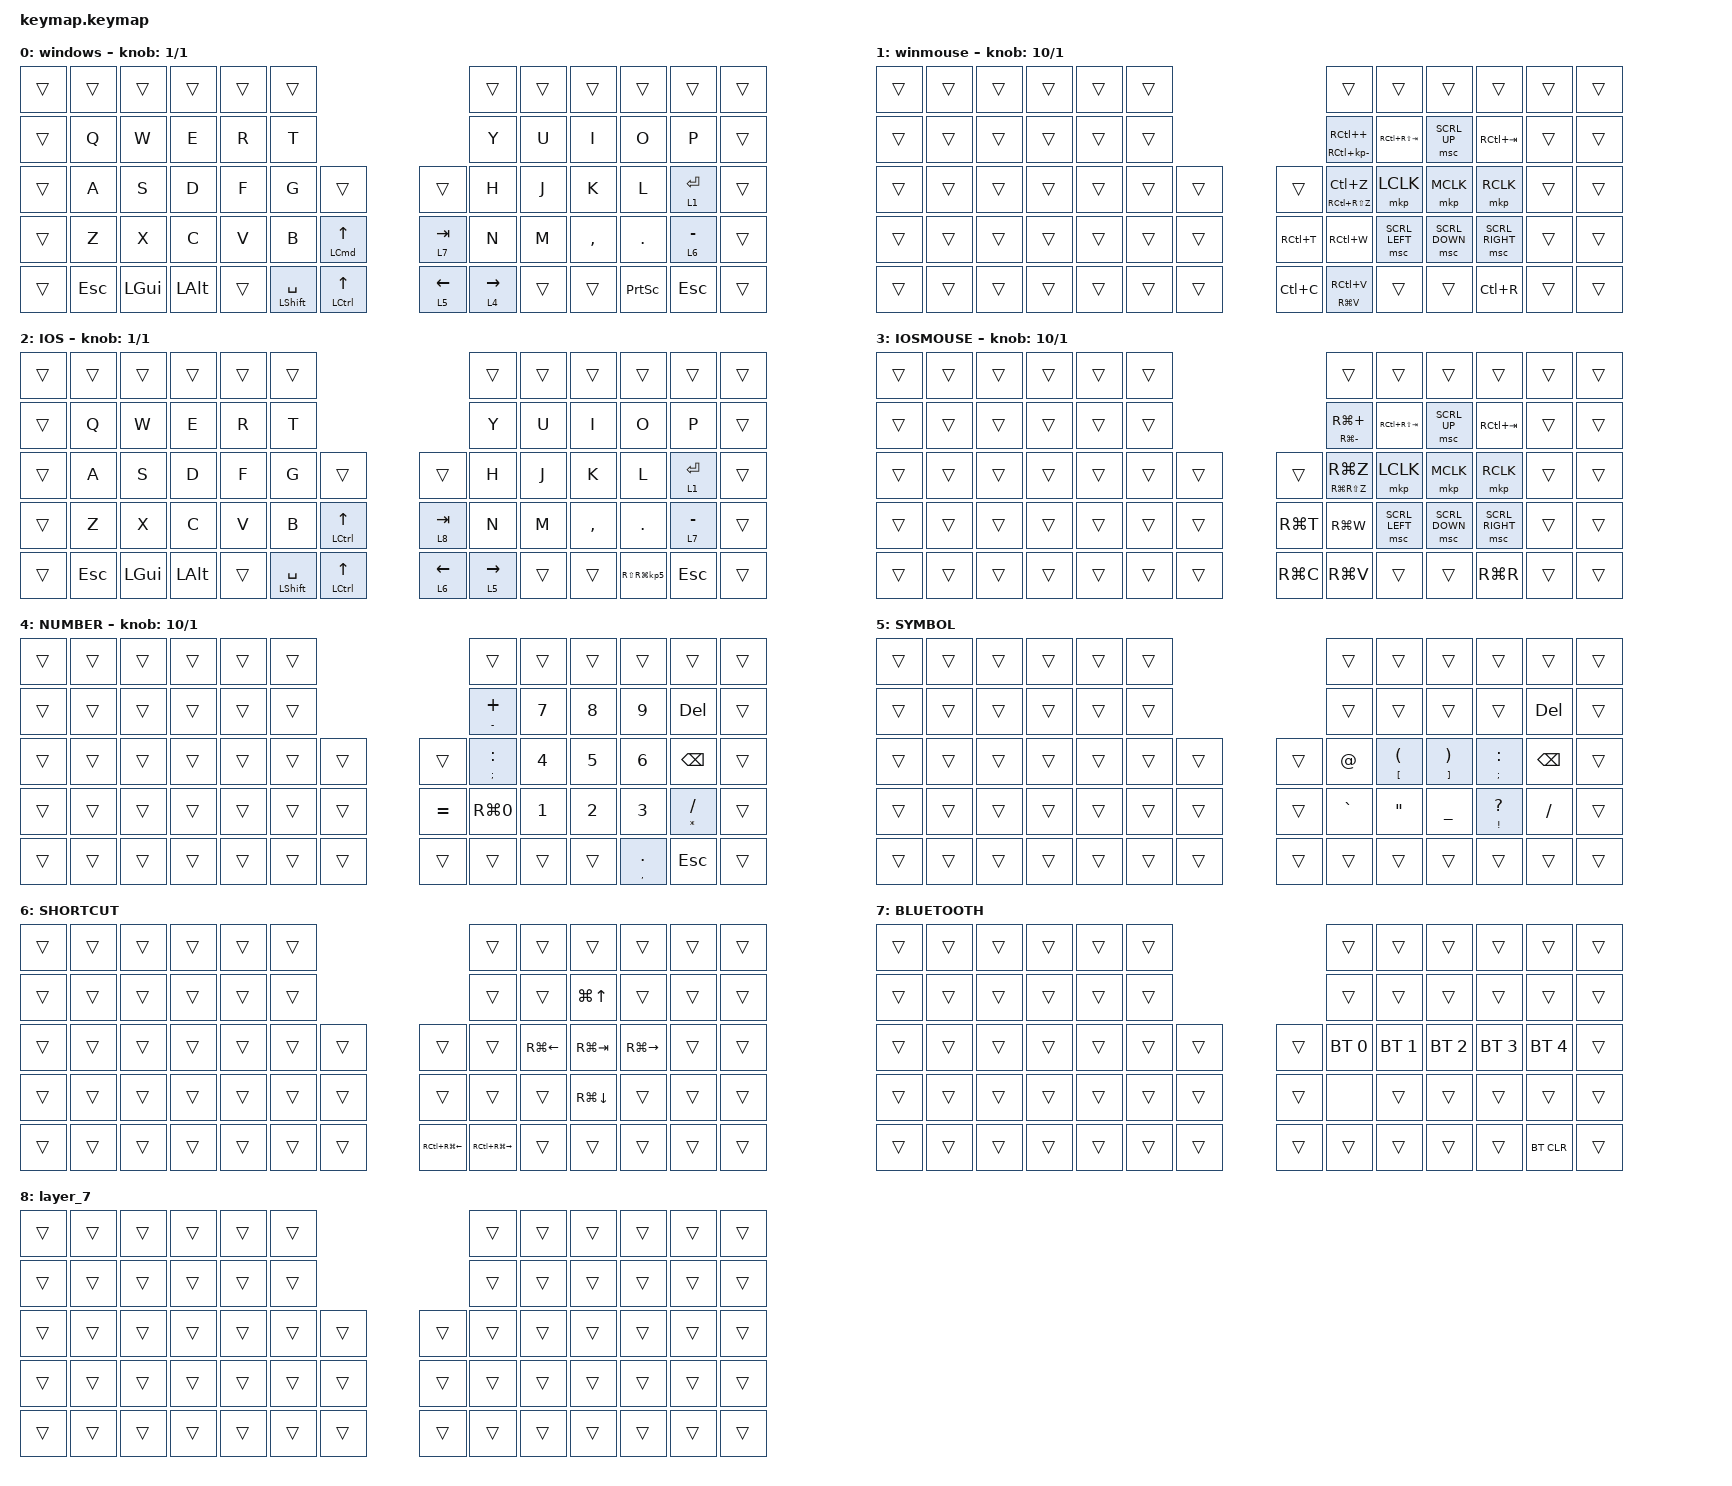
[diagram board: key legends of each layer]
#include <behaviors/hires_dial.dtsi>
#include <behaviors.dtsi>
#include <dt-bindings/zmk/bt.h>
#include <dt-bindings/zmk/keys.h>
#include <dt-bindings/zmk/pointing.h>

/ {
    combos { compatible = "zmk,combos"; };

    keymap {
        compatible = "zmk,keymap";

        windows {
            bindings = <
&trans  &trans      &trans    &trans    &trans  &trans                                                       &trans       &trans  &trans     &trans     &trans       &trans
&trans  &kp Q       &kp W     &kp E     &kp R   &kp T                                                        &kp Y        &kp U   &kp I      &kp O      &kp P        &trans
&trans  &kp A       &kp S     &kp D     &kp F   &kp G                 &trans                     &trans      &kp H        &kp J   &kp K      &kp L      &lt 1 ENTER  &trans
&trans  &kp Z       &kp X     &kp C     &kp V   &kp B                 &mt LEFT_COMMAND UP_ARROW  &lt 7 TAB   &kp N        &kp M   &kp COMMA  &kp DOT    &lt 6 MINUS  &trans
&trans  &kp ESCAPE  &kp LGUI  &kp LALT  &trans  &mt LEFT_SHIFT SPACE  &mt LCTRL UP_ARROW         &lt 5 LEFT  &lt 4 RIGHT  &trans  &trans     &kp PSCRN  &kp ESCAPE   &trans
            >;

            sensor-bindings = <&hires_dial_scroll 1 1>;
        };

        winmouse {
            bindings = <
&trans  &trans  &trans  &trans  &trans  &trans                     &trans                     &trans           &trans          &trans           &trans  &trans
&trans  &trans  &trans  &trans  &trans  &trans                     &mt RC(KP_MINUS) RC(PLUS)  &kp RC(RS(TAB))  &msc SCRL_UP    &kp RC(TAB)      &trans  &trans
&trans  &trans  &trans  &trans  &trans  &trans  &trans  &trans     &mt RC(RS(Z)) LC(Z)        &mkp LCLK        &mkp MCLK       &mkp RCLK        &trans  &trans
&trans  &trans  &trans  &trans  &trans  &trans  &trans  &kp RC(T)  &kp RC(W)                  &msc SCRL_LEFT   &msc SCRL_DOWN  &msc SCRL_RIGHT  &trans  &trans
&trans  &trans  &trans  &trans  &trans  &trans  &trans  &kp LC(C)  &mt RG(V) RC(V)            &trans           &trans          &kp LC(R)        &trans  &trans
            >;

            sensor-bindings = <&hires_dial_scroll 10 1>;
        };

        IOS {
            bindings = <
&trans  &trans      &trans    &trans    &trans  &trans                                                       &trans       &trans  &trans     &trans             &trans       &trans
&trans  &kp Q       &kp W     &kp E     &kp R   &kp T                                                        &kp Y        &kp U   &kp I      &kp O              &kp P        &trans
&trans  &kp A       &kp S     &kp D     &kp F   &kp G                 &trans                     &trans      &kp H        &kp J   &kp K      &kp L              &lt 1 ENTER  &trans
&trans  &kp Z       &kp X     &kp C     &kp V   &kp B                 &mt LEFT_CONTROL UP_ARROW  &lt 8 TAB   &kp N        &kp M   &kp COMMA  &kp DOT            &lt 7 MINUS  &trans
&trans  &kp ESCAPE  &kp LGUI  &kp LALT  &trans  &mt LEFT_SHIFT SPACE  &mt LCTRL UP_ARROW         &lt 6 LEFT  &lt 5 RIGHT  &trans  &trans     &kp RS(RG(KP_N5))  &kp ESCAPE   &trans
            >;

            sensor-bindings = <&hires_dial_scroll 1 1>;
        };

        IOSMOUSE {
            bindings = <
&trans  &trans  &trans  &trans  &trans  &trans                     &trans                  &trans           &trans          &trans           &trans  &trans
&trans  &trans  &trans  &trans  &trans  &trans                     &mt RG(MINUS) RG(PLUS)  &kp RC(RS(TAB))  &msc SCRL_UP    &kp RC(TAB)      &trans  &trans
&trans  &trans  &trans  &trans  &trans  &trans  &trans  &trans     &mt RG(RS(Z)) RG(Z)     &mkp LCLK        &mkp MCLK       &mkp RCLK        &trans  &trans
&trans  &trans  &trans  &trans  &trans  &trans  &trans  &kp RG(T)  &kp RG(W)               &msc SCRL_LEFT   &msc SCRL_DOWN  &msc SCRL_RIGHT  &trans  &trans
&trans  &trans  &trans  &trans  &trans  &trans  &trans  &kp RG(C)  &kp RG(V)               &trans           &trans          &kp RG(R)        &trans  &trans
            >;

            sensor-bindings = <&hires_dial_scroll 10 1>;
        };

        NUMBER {
            bindings = <
&trans  &trans  &trans  &trans  &trans  &trans                     &trans               &trans        &trans        &trans         &trans              &trans
&trans  &trans  &trans  &trans  &trans  &trans                     &mt MINUS PLUS       &kp N7        &kp N8        &kp N9         &kp DELETE          &trans
&trans  &trans  &trans  &trans  &trans  &trans  &trans  &trans     &mt SEMICOLON COLON  &kp NUMBER_4  &kp N5        &kp NUMBER_6   &kp BACKSPACE       &trans
&trans  &trans  &trans  &trans  &trans  &trans  &trans  &kp EQUAL  &kp RG(N0)           &kp NUMBER_1  &kp NUMBER_2  &kp NUMBER_3   &mt ASTERISK SLASH  &trans
&trans  &trans  &trans  &trans  &trans  &trans  &trans  &trans     &trans               &trans        &trans        &mt COMMA DOT  &kp ESCAPE          &trans
            >;

            sensor-bindings = <&hires_dial_scroll 10 1>;
        };

        SYMBOL {
            bindings = <
&trans  &trans  &trans  &trans  &trans  &trans                  &trans       &trans                             &trans                               &trans                    &trans         &trans
&trans  &trans  &trans  &trans  &trans  &trans                  &trans       &trans                             &trans                               &trans                    &kp DELETE     &trans
&trans  &trans  &trans  &trans  &trans  &trans  &trans  &trans  &kp AT_SIGN  &mt LEFT_BRACKET LEFT_PARENTHESIS  &mt RIGHT_BRACKET RIGHT_PARENTHESIS  &mt SEMICOLON COLON       &kp BACKSPACE  &trans
&trans  &trans  &trans  &trans  &trans  &trans  &trans  &trans  &kp GRAVE    &kp DQT                            &kp UNDER                            &mt EXCLAMATION QUESTION  &kp SLASH      &trans
&trans  &trans  &trans  &trans  &trans  &trans  &trans  &trans  &trans       &trans                             &trans                               &trans                    &trans         &trans
            >;
        };

        SHORTCUT {
            bindings = <
&trans  &trans  &trans  &trans  &trans  &trans                            &trans             &trans        &trans            &trans         &trans  &trans
&trans  &trans  &trans  &trans  &trans  &trans                            &trans             &trans        &kp LG(UP_ARROW)  &trans         &trans  &trans
&trans  &trans  &trans  &trans  &trans  &trans  &trans  &trans            &trans             &kp RG(LEFT)  &kp RG(TAB)       &kp RG(RIGHT)  &trans  &trans
&trans  &trans  &trans  &trans  &trans  &trans  &trans  &trans            &trans             &trans        &kp RG(DOWN)      &trans         &trans  &trans
&trans  &trans  &trans  &trans  &trans  &trans  &trans  &kp RC(RG(LEFT))  &kp RC(RG(RIGHT))  &trans        &trans            &trans         &trans  &trans
            >;
        };

        BLUETOOTH {
            bindings = <
&trans  &trans  &trans  &trans  &trans  &trans                  &trans        &trans        &trans        &trans        &trans        &trans
&trans  &trans  &trans  &trans  &trans  &trans                  &trans        &trans        &trans        &trans        &trans        &trans
&trans  &trans  &trans  &trans  &trans  &trans  &trans  &trans  &bt BT_SEL 0  &bt BT_SEL 1  &bt BT_SEL 2  &bt BT_SEL 3  &bt BT_SEL 4  &trans
&trans  &trans  &trans  &trans  &trans  &trans  &trans  &trans  &none         &trans        &trans        &trans        &trans        &trans
&trans  &trans  &trans  &trans  &trans  &trans  &trans  &trans  &trans        &trans        &trans        &trans        &bt BT_CLR    &trans
            >;
        };

        layer_7 {
            bindings = <
&trans  &trans  &trans  &trans  &trans  &trans                  &trans  &trans  &trans  &trans  &trans  &trans
&trans  &trans  &trans  &trans  &trans  &trans                  &trans  &trans  &trans  &trans  &trans  &trans
&trans  &trans  &trans  &trans  &trans  &trans  &trans  &trans  &trans  &trans  &trans  &trans  &trans  &trans
&trans  &trans  &trans  &trans  &trans  &trans  &trans  &trans  &trans  &trans  &trans  &trans  &trans  &trans
&trans  &trans  &trans  &trans  &trans  &trans  &trans  &trans  &trans  &trans  &trans  &trans  &trans  &trans
            >;
        };
    };
};
